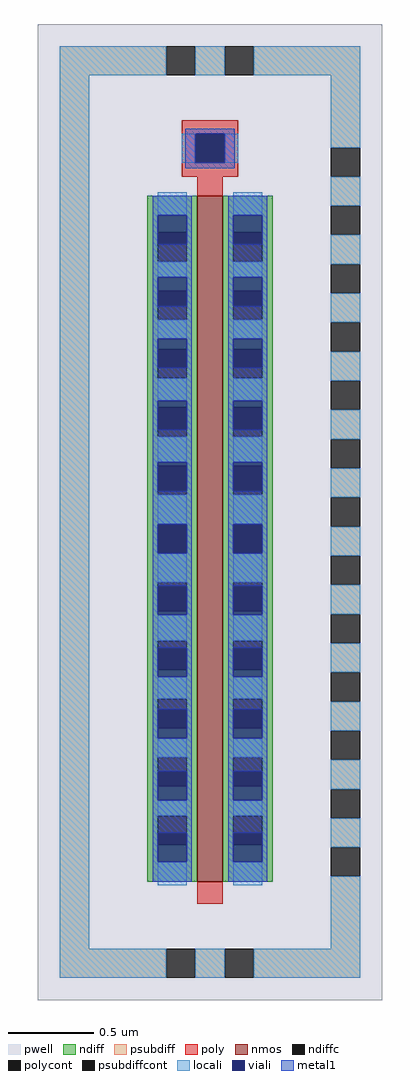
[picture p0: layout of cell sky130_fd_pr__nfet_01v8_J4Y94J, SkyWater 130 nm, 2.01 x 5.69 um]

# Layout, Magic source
magic
tech sky130A
magscale 1 2
<< pwell >>
rect -201 -569 201 569
<< nmos >>
rect -15 -431 15 369
<< ndiff >>
rect -73 326 -15 369
rect -73 292 -61 326
rect -27 292 -15 326
rect -73 258 -15 292
rect -73 224 -61 258
rect -27 224 -15 258
rect -73 190 -15 224
rect -73 156 -61 190
rect -27 156 -15 190
rect -73 122 -15 156
rect -73 88 -61 122
rect -27 88 -15 122
rect -73 54 -15 88
rect -73 20 -61 54
rect -27 20 -15 54
rect -73 -14 -15 20
rect -73 -48 -61 -14
rect -27 -48 -15 -14
rect -73 -82 -15 -48
rect -73 -116 -61 -82
rect -27 -116 -15 -82
rect -73 -150 -15 -116
rect -73 -184 -61 -150
rect -27 -184 -15 -150
rect -73 -218 -15 -184
rect -73 -252 -61 -218
rect -27 -252 -15 -218
rect -73 -286 -15 -252
rect -73 -320 -61 -286
rect -27 -320 -15 -286
rect -73 -354 -15 -320
rect -73 -388 -61 -354
rect -27 -388 -15 -354
rect -73 -431 -15 -388
rect 15 326 73 369
rect 15 292 27 326
rect 61 292 73 326
rect 15 258 73 292
rect 15 224 27 258
rect 61 224 73 258
rect 15 190 73 224
rect 15 156 27 190
rect 61 156 73 190
rect 15 122 73 156
rect 15 88 27 122
rect 61 88 73 122
rect 15 54 73 88
rect 15 20 27 54
rect 61 20 73 54
rect 15 -14 73 20
rect 15 -48 27 -14
rect 61 -48 73 -14
rect 15 -82 73 -48
rect 15 -116 27 -82
rect 61 -116 73 -82
rect 15 -150 73 -116
rect 15 -184 27 -150
rect 61 -184 73 -150
rect 15 -218 73 -184
rect 15 -252 27 -218
rect 61 -252 73 -218
rect 15 -286 73 -252
rect 15 -320 27 -286
rect 61 -320 73 -286
rect 15 -354 73 -320
rect 15 -388 27 -354
rect 61 -388 73 -354
rect 15 -431 73 -388
<< ndiffc >>
rect -61 292 -27 326
rect -61 224 -27 258
rect -61 156 -27 190
rect -61 88 -27 122
rect -61 20 -27 54
rect -61 -48 -27 -14
rect -61 -116 -27 -82
rect -61 -184 -27 -150
rect -61 -252 -27 -218
rect -61 -320 -27 -286
rect -61 -388 -27 -354
rect 27 292 61 326
rect 27 224 61 258
rect 27 156 61 190
rect 27 88 61 122
rect 27 20 61 54
rect 27 -48 61 -14
rect 27 -116 61 -82
rect 27 -184 61 -150
rect 27 -252 61 -218
rect 27 -320 61 -286
rect 27 -388 61 -354
<< psubdiff >>
rect -175 509 -51 543
rect -17 509 17 543
rect 51 509 175 543
rect -175 -509 -141 509
rect 141 425 175 509
rect 141 357 175 391
rect 141 289 175 323
rect 141 221 175 255
rect 141 153 175 187
rect 141 85 175 119
rect 141 17 175 51
rect 141 -51 175 -17
rect 141 -119 175 -85
rect 141 -187 175 -153
rect 141 -255 175 -221
rect 141 -323 175 -289
rect 141 -391 175 -357
rect 141 -509 175 -425
rect -175 -543 -51 -509
rect -17 -543 17 -509
rect 51 -543 175 -509
<< psubdiffcont >>
rect -51 509 -17 543
rect 17 509 51 543
rect 141 391 175 425
rect 141 323 175 357
rect 141 255 175 289
rect 141 187 175 221
rect 141 119 175 153
rect 141 51 175 85
rect 141 -17 175 17
rect 141 -85 175 -51
rect 141 -153 175 -119
rect 141 -221 175 -187
rect 141 -289 175 -255
rect 141 -357 175 -323
rect 141 -425 175 -391
rect -51 -543 -17 -509
rect 17 -543 51 -509
<< poly >>
rect -33 441 33 457
rect -33 407 -17 441
rect 17 407 33 441
rect -33 391 33 407
rect -15 369 15 391
rect -15 -457 15 -431
<< polycont >>
rect -17 407 17 441
<< locali >>
rect -175 509 -51 543
rect -17 509 17 543
rect 51 509 175 543
rect -175 -509 -141 509
rect -33 407 -17 441
rect 17 407 33 441
rect 141 425 175 509
rect -61 346 -27 373
rect -61 274 -27 292
rect -61 202 -27 224
rect -61 130 -27 156
rect -61 58 -27 88
rect -61 -14 -27 20
rect -61 -82 -27 -48
rect -61 -150 -27 -120
rect -61 -218 -27 -192
rect -61 -286 -27 -264
rect -61 -354 -27 -336
rect -61 -435 -27 -408
rect 27 346 61 373
rect 27 274 61 292
rect 27 202 61 224
rect 27 130 61 156
rect 27 58 61 88
rect 27 -14 61 20
rect 27 -82 61 -48
rect 27 -150 61 -120
rect 27 -218 61 -192
rect 27 -286 61 -264
rect 27 -354 61 -336
rect 27 -435 61 -408
rect 141 357 175 391
rect 141 289 175 323
rect 141 221 175 255
rect 141 153 175 187
rect 141 85 175 119
rect 141 17 175 51
rect 141 -51 175 -17
rect 141 -119 175 -85
rect 141 -187 175 -153
rect 141 -255 175 -221
rect 141 -323 175 -289
rect 141 -391 175 -357
rect 141 -509 175 -425
rect -175 -543 -51 -509
rect -17 -543 17 -509
rect 51 -543 175 -509
<< viali >>
rect -17 407 17 441
rect -61 326 -27 346
rect -61 312 -27 326
rect -61 258 -27 274
rect -61 240 -27 258
rect -61 190 -27 202
rect -61 168 -27 190
rect -61 122 -27 130
rect -61 96 -27 122
rect -61 54 -27 58
rect -61 24 -27 54
rect -61 -48 -27 -14
rect -61 -116 -27 -86
rect -61 -120 -27 -116
rect -61 -184 -27 -158
rect -61 -192 -27 -184
rect -61 -252 -27 -230
rect -61 -264 -27 -252
rect -61 -320 -27 -302
rect -61 -336 -27 -320
rect -61 -388 -27 -374
rect -61 -408 -27 -388
rect 27 326 61 346
rect 27 312 61 326
rect 27 258 61 274
rect 27 240 61 258
rect 27 190 61 202
rect 27 168 61 190
rect 27 122 61 130
rect 27 96 61 122
rect 27 54 61 58
rect 27 24 61 54
rect 27 -48 61 -14
rect 27 -116 61 -86
rect 27 -120 61 -116
rect 27 -184 61 -158
rect 27 -192 61 -184
rect 27 -252 61 -230
rect 27 -264 61 -252
rect 27 -320 61 -302
rect 27 -336 61 -320
rect 27 -388 61 -374
rect 27 -408 61 -388
<< metal1 >>
rect -29 441 29 447
rect -29 407 -17 441
rect 17 407 29 441
rect -29 401 29 407
rect -67 346 -21 369
rect -67 312 -61 346
rect -27 312 -21 346
rect -67 274 -21 312
rect -67 240 -61 274
rect -27 240 -21 274
rect -67 202 -21 240
rect -67 168 -61 202
rect -27 168 -21 202
rect -67 130 -21 168
rect -67 96 -61 130
rect -27 96 -21 130
rect -67 58 -21 96
rect -67 24 -61 58
rect -27 24 -21 58
rect -67 -14 -21 24
rect -67 -48 -61 -14
rect -27 -48 -21 -14
rect -67 -86 -21 -48
rect -67 -120 -61 -86
rect -27 -120 -21 -86
rect -67 -158 -21 -120
rect -67 -192 -61 -158
rect -27 -192 -21 -158
rect -67 -230 -21 -192
rect -67 -264 -61 -230
rect -27 -264 -21 -230
rect -67 -302 -21 -264
rect -67 -336 -61 -302
rect -27 -336 -21 -302
rect -67 -374 -21 -336
rect -67 -408 -61 -374
rect -27 -408 -21 -374
rect -67 -431 -21 -408
rect 21 346 67 369
rect 21 312 27 346
rect 61 312 67 346
rect 21 274 67 312
rect 21 240 27 274
rect 61 240 67 274
rect 21 202 67 240
rect 21 168 27 202
rect 61 168 67 202
rect 21 130 67 168
rect 21 96 27 130
rect 61 96 67 130
rect 21 58 67 96
rect 21 24 27 58
rect 61 24 67 58
rect 21 -14 67 24
rect 21 -48 27 -14
rect 61 -48 67 -14
rect 21 -86 67 -48
rect 21 -120 27 -86
rect 61 -120 67 -86
rect 21 -158 67 -120
rect 21 -192 27 -158
rect 61 -192 67 -158
rect 21 -230 67 -192
rect 21 -264 27 -230
rect 61 -264 67 -230
rect 21 -302 67 -264
rect 21 -336 27 -302
rect 61 -336 67 -302
rect 21 -374 67 -336
rect 21 -408 27 -374
rect 61 -408 67 -374
rect 21 -431 67 -408
<< properties >>
string FIXED_BBOX -158 -526 158 526
<< end >>
